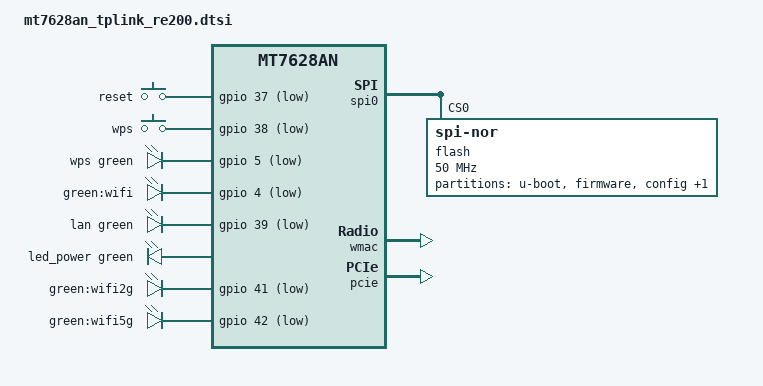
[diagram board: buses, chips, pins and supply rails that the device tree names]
// SPDX-License-Identifier: GPL-2.0-or-later OR MIT

#include "mt7628an.dtsi"

#include <dt-bindings/gpio/gpio.h>
#include <dt-bindings/input/input.h>
#include <dt-bindings/leds/common.h>

/ {
	aliases {
		label-mac-device = &ethernet;
		led-boot = &led_power;
		led-failsafe = &led_power;
		led-running = &led_power;
		led-upgrade = &led_power;
	};

	chosen {
		bootargs = "console=ttyS0,57600n8";
	};

	keys {
		compatible = "gpio-keys";

		reset {
			label = "reset";
			gpios = <&gpio 37 GPIO_ACTIVE_LOW>;
			linux,code = <KEY_RESTART>;
		};

		wps {
			label = "wps";
			gpios = <&gpio 38 GPIO_ACTIVE_LOW>;
			linux,code = <KEY_WPS_BUTTON>;
		};
	};

	leds {
		compatible = "gpio-leds";

		wps {
			function = LED_FUNCTION_WPS;
			color = <LED_COLOR_ID_GREEN>;
			gpios = <&gpio 5 GPIO_ACTIVE_LOW>;
		};

		wifi {
			label = "green:wifi";
			gpios = <&gpio 4 GPIO_ACTIVE_LOW>;
		};

		lan {
			function = LED_FUNCTION_LAN;
			color = <LED_COLOR_ID_GREEN>;
			gpios = <&gpio 39 GPIO_ACTIVE_LOW>;
		};

		led_power: power {
			function = LED_FUNCTION_POWER;
			color = <LED_COLOR_ID_GREEN>;
		};

		wifi2g_green {
			label = "green:wifi2g";
			gpios = <&gpio 41 GPIO_ACTIVE_LOW>;
			linux,default-trigger = "phy0tpt";
		};

		wifi5g_green {
			label = "green:wifi5g";
			gpios = <&gpio 42 GPIO_ACTIVE_LOW>;
			linux,default-trigger = "phy1tpt";
		};
	};
};

&spi0 {
	status = "okay";

	flash@0 {
		compatible = "jedec,spi-nor";
		reg = <0>;
		spi-max-frequency = <50000000>;

		partitions {
			compatible = "fixed-partitions";
			#address-cells = <1>;
			#size-cells = <1>;

			partition@0 {
				label = "u-boot";
				reg = <0x0 0x20000>;
				read-only;
			};

			partition@20000 {
				compatible = "tplink,firmware";
				label = "firmware";
				reg = <0x20000 0x7a0000>;
			};

			partition@7c0000 {
				label = "config";
				reg = <0x7c0000 0x30000>;
				read-only;

				nvmem-layout {
					compatible = "fixed-layout";
					#address-cells = <1>;
					#size-cells = <1>;

					macaddr_config_2008: macaddr@2008 {
						compatible = "mac-base";
						reg = <0x2008 0x6>;
						#nvmem-cell-cells = <1>;
					};
				};
			};

			partition@7f0000 {
				label = "radio";
				reg = <0x7f0000 0x10000>;
				read-only;

				nvmem-layout {
					compatible = "fixed-layout";
					#address-cells = <1>;
					#size-cells = <1>;

					eeprom_radio_0: eeprom@0 {
						reg = <0x0 0x400>;
					};

					eeprom_radio_8000: eeprom@8000 {
						reg = <0x8000 0x200>;
					};
				};
			};
		};
	};
};

&state_default {
	gpio {
		groups = "p4led_an", "p3led_an", "p2led_an", "p1led_an",
				"p0led_an", "wled_an", "i2c", "wdt", "refclk";
		function = "gpio";
	};
};

&ethernet {
	nvmem-cells = <&macaddr_config_2008 0>;
	nvmem-cell-names = "mac-address";
};

&wmac {
	status = "okay";

	nvmem-cells = <&eeprom_radio_0>, <&macaddr_config_2008 1>;
	nvmem-cell-names = "eeprom", "mac-address";
};

&pcie {
	status = "okay";
};

&pcie0 {
	mt76@0,0 {
		reg = <0x0000 0 0 0 0>;
		ieee80211-freq-limit = <5000000 6000000>;
		nvmem-cells = <&eeprom_radio_8000>, <&macaddr_config_2008 2>;
		nvmem-cell-names = "eeprom", "mac-address";
	};
};
